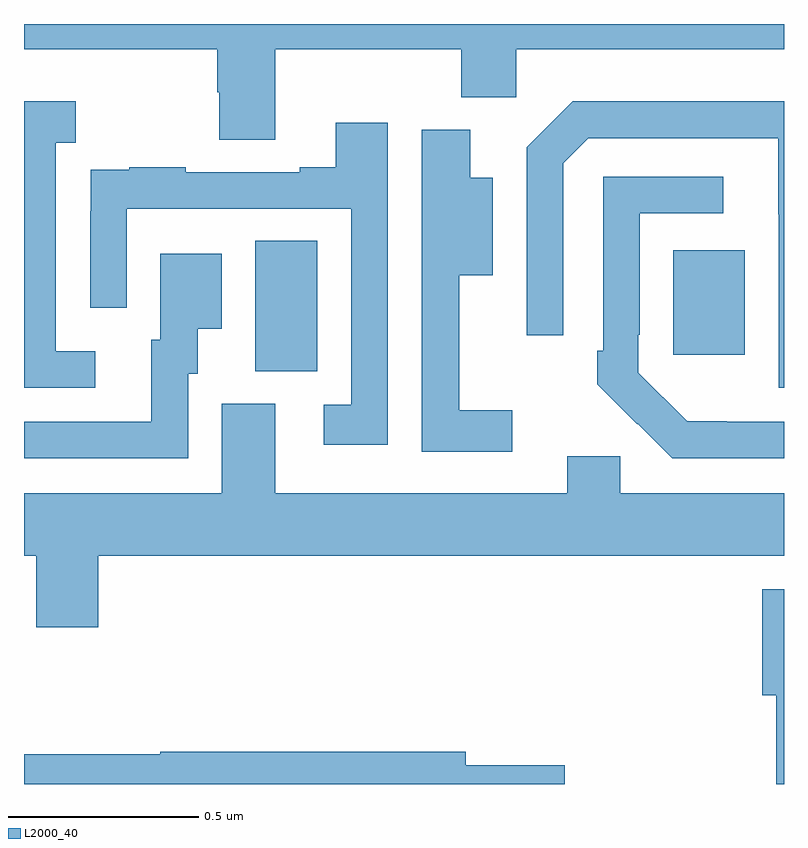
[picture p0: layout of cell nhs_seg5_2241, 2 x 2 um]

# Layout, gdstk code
import gdstk
lib = gdstk.Library(unit=1e-6, precision=1e-09)
def R(c, l, rs):  # rectangles x0, y0, x1, y1
    for r in rs: c.add(gdstk.rectangle(r[:2], r[2:], *l))
def P(c, l, *ps):  # polygons
    for p in ps: c.add(gdstk.Polygon(p, *l))
L2000_40 = (2000, 40)

nhs_seg5_2241 = lib.new_cell('nhs_seg5_2241')
R(nhs_seg5_2241, L2000_40, [(141.608,883.885,141.772,884.228), (142.709,883.929,142.897,884.203)])
P(nhs_seg5_2241, L2000_40, [(141.661,884.732),(142.15,884.732),(142.15,884.606),(142.296,884.606),(142.296,884.732),(143,884.732),(143,884.799),(141,884.799),(141,884.732),(141.509,884.732),(141.509,884.619),(141.514,884.619),(141.514,884.494),(141.661,884.494)],
  [(143,884.596),(142.444,884.596),(142.323,884.475),(142.323,883.98),(142.419,883.98),(142.419,884.433),(142.485,884.499),(142.985,884.499),(142.985,884.299),(142.986,884.299),(142.986,883.842),(143,883.842)],
  [(141.187,883.938),(141.084,883.938),(141.084,884.486),(141.136,884.486),(141.136,884.596),(141,884.596),(141,883.842),(141.187,883.842)],
  [(141.957,884.539),(141.821,884.539),(141.821,884.422),(141.725,884.422),(141.725,884.409),(141.425,884.409),(141.425,884.422),(141.277,884.422),(141.277,884.415),(141.175,884.415),(141.175,884.306),(141.174,884.306),(141.174,884.052),(141.27,884.052),(141.27,884.313),(141.861,884.313),(141.861,883.797),(141.789,883.797),(141.789,883.692),(141.957,883.692)],
  [(142.285,883.783),(142.145,883.783),(142.145,884.138),(142.234,884.138),(142.234,884.395),(142.174,884.395),(142.174,884.521),(142.047,884.521),(142.047,883.674),(142.285,883.674)],
  [(143,883.752),(142.849,883.752),(142.849,883.753),(142.746,883.753),(142.617,883.881),(142.617,883.981),(142.62,883.981),(142.62,884.301),(142.84,884.301),(142.84,884.397),(142.524,884.397),(142.524,883.939),(142.509,883.939),(142.509,883.851),(142.614,883.746),(142.615,883.747),(142.706,883.656),(143,883.656)],
  [(141.432,883.878),(141.457,883.878),(141.457,883.997),(141.52,883.997),(141.52,884.194),(141.359,884.194),(141.359,883.968),(141.335,883.968),(141.335,883.752),(141,883.752),(141,883.656),(141.432,883.656)],
  [(141.196,883.4),(143,883.4),(143,883.564),(142.569,883.564),(142.569,883.662),(142.43,883.662),(142.43,883.564),(141.661,883.564),(141.661,883.8),(141.521,883.8),(141.521,883.564),(141,883.564),(141,883.4),(141.032,883.4),(141.032,883.212),(141.196,883.212)],
  [(143,883.312),(142.943,883.312),(142.943,883.032),(142.979,883.032),(142.979,882.799),(143,882.799)],
  [(142.423,882.848),(142.162,882.848),(142.162,882.884),(141.358,882.884),(141.358,882.877),(141,882.877),(141,882.799),(142.423,882.799)])

lib.write_gds('nhs_seg5_2241.gds')
